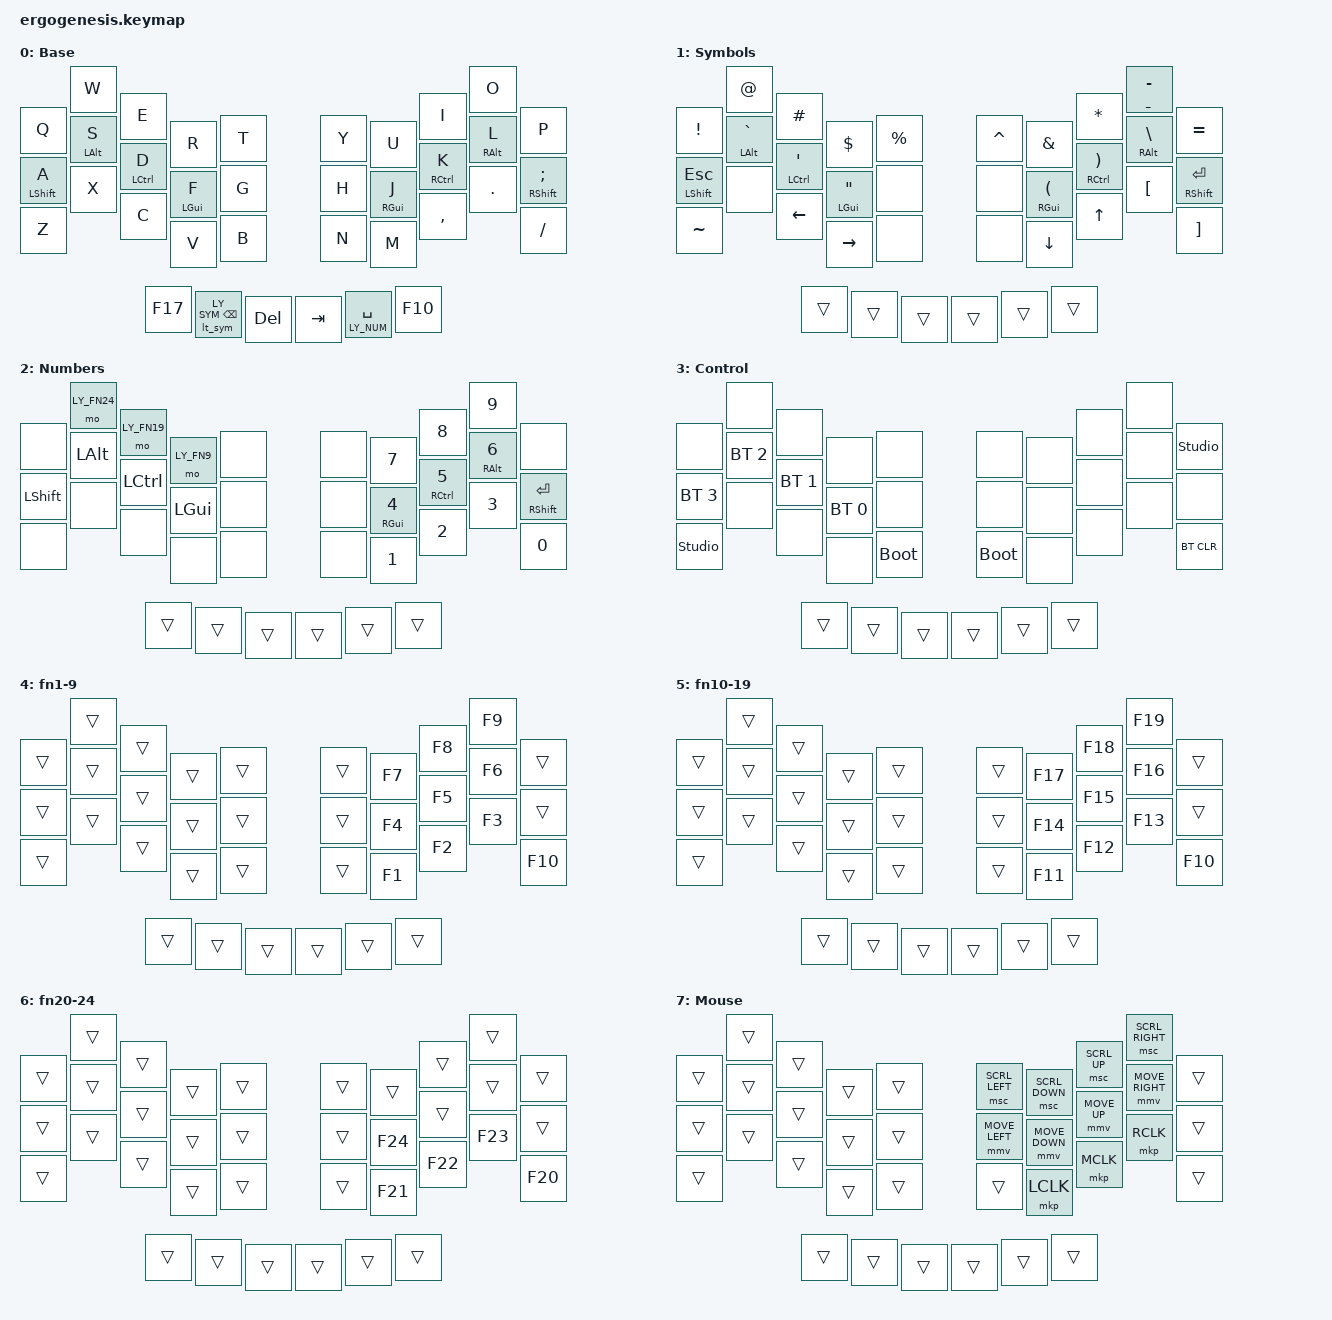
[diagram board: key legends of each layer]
// https://github.com/zmkfirmware/zmk/blob/main/app/boards/shields/cradio/cradio.keymap
// https://github.com/auryn31/avocado/blob/main/config/boards/shields/avocado/avocado.keymap


#include <behaviors.dtsi>// https://github.com/zmkfirmware/zmk/blob/main/app/dts/behaviors.dtsi
#include <dt-bindings/zmk/keys.h>// https://github.com/zmkfirmware/zmk/blob/main/app/include/dt-bindings/zmk/keys.h
#include <dt-bindings/zmk/bt.h>// https://github.com/zmkfirmware/zmk/blob/main/app/include/dt-bindings/zmk/bt.h

#include <dt-bindings/zmk/pointing.h>// https://github.com/zmkfirmware/zmk/blob/main/app/include/dt-bindings/zmk/pointing.h
#include "boards/shields/ergogenesis/36.h"
#include "boards/shields/ergogenesis/helper.h"

// https://github.com/urob/zmk-helpers/tree/main?tab=readme-ov-file#unicode-characters-and-language-collection
// #define HOST_OS 1 // Linux
// #define HOST_OS 2// MacOS
// #include "zmk-helpers/helper.h"
// // #include "zmk-helpers/unicode-chars/german.dtsi" // https://github.com/urob/zmk-helpers/blob/main/include/zmk-helpers/unicode-chars/german.dtsi
// #include <zmk-helpers/unicode-chars/currency.dtsi>// https://github.com/urob/zmk-helpers/blob/main/include/zmk-helpers/unicode-chars/currency.dtsi

// TODO: https://github.com/urob/zmk-helpers/blob/main/docs/core_helpers.md#zmk_unicode
// TODO leader key?

// Home row mods macro
#define HRML(k1,k2,k3,k4) &ht LSHFT k1  &ht LALT  k2  &ht LCTRL k3  &ht LGUI  k4
#define HRMR(k1,k2,k3,k4) &ht RGUI  k1  &ht RCTRL k2  &ht RALT  k3  &ht RSHFT k4

#define LY_BAS 0
#define LY_SYM 1
#define LY_NUM 2
#define LY_CTL 3
#define LY_FN9 4
#define LY_FN19 5
#define LY_FN24 6
#define LY_MSE 7

// OverKeys layer indicators (see overkeys/README.md). The host overlay cannot
// see ZMK layers, so a layer-tap also holds a trigger key while its layer is
// active. Keep in sync with TRIGGERS in overkeys/convert.py. macOS only
// reports F1-F20, so F21-F24 cannot be used as triggers.
//
// Off by default. Enable with `just firmware build-firmware-overkeys`, which
// passes -DOVERKEYS_INDICATORS to the devicetree preprocessor, or uncomment
// the define below. This cannot be a Kconfig option: devicetree is processed
// before Kconfig, so CONFIG_* symbols are not visible in a keymap.
//
// TODO: test on hardware. The enabled variant compiles but was never flashed.
// #define OVERKEYS_INDICATORS
#define OVK_SYM F20
// keymap-drawer predefines OVK_MO_SYM as plain &mo (firmware/draw/config.yaml)
// so the rendered layout always recognises the key as a layer activator.
#ifndef OVK_MO_SYM
#ifdef OVERKEYS_INDICATORS
#define OVK_MO_SYM &mo_sym
#else
#define OVK_MO_SYM &mo
#endif
#endif

//
// #define LY_NAV 3

// rango keyboard toggle with ctrl-shift-5

// ref layers https://github.com/zmkfirmware/zmk/blob/e93cd31a5866cd4f50385bece7a3fb770f2ca6f8/app/boards/shields/cradio/cradio.keymap#L4

/ {
	// {{{1 Combos
	// https://zmk.dev/docs/keymaps/combos
	combos {
		compatible = "zmk,combos";
		// Keys
		/* key_super { */
		/* 	// Windows key was missing! */
		/* 	key-positions = <LM1 RM1>; */
		/* 	timeout-ms = <50>; */
		/* 	layers = < LY_BAS >; */
		/* 	bindings = <&kp LWIN>; */
		/* }; */

		// Combo behaviors are evaluated on the central half, so binding a
		// three-key combo directly to &bootloader always resets the left half.
		// Instead, the first two keys momentarily select LY_CTL; the third key
		// is then handled normally and &bootloader follows that key's source.
		// Hold T+G, then press B to boot the left half.
		bootloader_l_prep {
			key-positions = <LT0 LM0>;
			timeout-ms = <100>;
			layers = <LY_BAS>;
			bindings = <&mo LY_CTL>;
		};

		// Hold Y+H, then press N to boot the right half.
		bootloader_r_prep {
			key-positions = <RT0 RM0>;
			timeout-ms = <100>;
			layers = <LY_BAS>;
			bindings = <&mo LY_CTL>;
		};

		// X+V toggles the smart mouse layer (see &smart_mouse).
		mouse_combo {
			key-positions = <LB3 LB1>;
			timeout-ms = <40>;
			require-prior-idle-ms = <150>;
			layers = <LY_BAS>;
			bindings = <&smart_mouse>;
		};
  	// key_escape {
		//     // Wanted a way to avoid 2 layer switches while pressing escape in vim
		//     // emulates C-[
		//     key-positions = <LB4 RT4>;
		//     timeout-ms = <50>;
		//     // layers = < LY_BAS LY_SYM >;
		//     bindings = <&kp ESC>;
		// };
		// key_escape {
		//     // Wanted a way to avoid 2 layer switches while pressing escape in vim
		//     // emulates C-[
		//     key-positions = <LB4 RT4>;
		//     timeout-ms = <50>;
		//     // layers = < LY_BAS LY_SYM >;
		//     bindings = <&kp ESC>;
		// };
		// fn1_combo {
		//     key-positions = <LT1 RB1>;
		//     timeout-ms = <50>;
		//     layers = < LY_NUM >;
		//     bindings = <&kp F1>;
		// };
	};
	
	// {{{1 Macros
	// https://zmk.dev/docs/keymaps/behaviors/macros
	macros {
#ifdef OVERKEYS_INDICATORS
		// &mo <layer> plus the OverKeys trigger key, both held until release.
		mo_sym: mo_sym {
			compatible = "zmk,behavior-macro-one-param";
			#binding-cells = <1>;
			wait-ms = <0>;
			tap-ms = <0>;
			bindings
				= <&macro_press>, <&macro_param_1to1>, <&mo MACRO_PLACEHOLDER>, <&kp OVK_SYM>
				, <&macro_pause_for_release>
				, <&macro_release>, <&kp OVK_SYM>, <&macro_param_1to1>, <&mo MACRO_PLACEHOLDER>;
		};
#endif
	};
	
	// {{{1 Behaviors
	// https://zmk.dev/docs/keymaps/behaviors#key-press-behaviors
	// https://zmk.dev/docs/keymaps/behaviors#user-defined-behaviors
	behaviors {
		ht: hold_tap {
			compatible = "zmk,behavior-hold-tap";
			#binding-cells = <2>;
			// flavor = "tap-preferred";
			flavor = "balanced";
			tapping-term-ms = <220>;
			quick-tap-ms = <150>;
			require-prior-idle-ms = <100>;
			bindings = <&kp>, <&kp>;
		};
		td0: tap_dance_0 {
			compatible = "zmk,behavior-tap-dance";
			label = "TAPDANCE";
			#binding-cells = <0>;// No inputs
			tapping-term-ms = <200>;
			bindings = <&kp N1>, <&kp N2>, <&kp N3>;// outputs
		};
		// https://zmk.dev/docs/keymaps/behaviors/hold-tap?examples=home_row_mods#layer-tap
		/* urob timeless HRM */
		// 150 ms caused missed modifiers with the lighter switches. Keep the
		// right hand at 100 ms, but let left-hand modifiers follow Space within
		// 75 ms so the A/Shift key can reliably capitalize the next letter.
		/* Left-hand HRMs. */
		hml: hml {
			compatible = "zmk,behavior-hold-tap";
			#binding-cells = <2>;
			flavor = "balanced";
			tapping-term-ms = <280>;
			quick-tap-ms = <175>;
			require-prior-idle-ms = <75>;
			bindings = <&kp>, <&kp>;
			// Before the tapping term, keys not listed here force a tap.
			hold-trigger-key-positions = <KEYS_R THUMBS>;
			hold-trigger-on-release;
		};
		/* Right-hand HRMs. */
		hmr: hmr {
			compatible = "zmk,behavior-hold-tap";
			#binding-cells = <2>;
			flavor = "balanced";
			tapping-term-ms = <280>;
			quick-tap-ms = <175>;
			require-prior-idle-ms = <100>;
			bindings = <&kp>, <&kp>;
			hold-trigger-key-positions = <KEYS_L THUMBS>;
			hold-trigger-on-release;
		};
		/* Space is tap-preferred so rolling into the next letter cannot turn it
		 * into the number-layer hold. Hold it deliberately for 200 ms first. */
		/* Symbols/Backspace stays responsive: another key press resolves it as
		 * a hold immediately. With OVERKEYS_INDICATORS the hold is &mo_sym so
		 * OverKeys sees the layer; otherwise it is plain &mo. */
		lt_sym: layer_tap_symbols {
			compatible = "zmk,behavior-hold-tap";
			#binding-cells = <2>;
			flavor = "hold-preferred";
			tapping-term-ms = <200>;
			require-prior-idle-ms = <100>;
			bindings = <OVK_MO_SYM>, <&kp>;
		};
		lt_num: layer_tap_number {
			compatible = "zmk,behavior-hold-tap";
			#binding-cells = <2>;
			flavor = "tap-preferred";
			tapping-term-ms = <200>;
			bindings = <&mo>, <&kp>;
		};

		// Smart mouse layer (zmk-tri-state): turns LY_MSE on, and off again at
		// the first key that is not listed in ignored-key-positions. Listed are
		// the mouse keys themselves and the left home row, so home-row mods can
		// be held for Shift/Ctrl/Cmd-click. That key press is still typed.
		smart_mouse: smart_mouse {
			compatible = "zmk,behavior-tri-state";
			#binding-cells = <0>;
			bindings = <&tog LY_MSE>, <&none>, <&tog LY_MSE>;
			ignored-key-positions = <LM1 LM2 LM3 LM4 RT0 RT1 RT2 RT3 RM0 RM1 RM2 RM3 RB1 RB2 RB3>;
			ignored-layers = <LY_MSE>;
		};
	};
	
	// {{{1 conditional-layers
	conditional_layers {
		compatible = "zmk,conditional-layers";
		tri_layer {
			if-layers = <LY_SYM LY_NUM>;
			then-layer = <LY_CTL>;
		};
	};
	
	// {{{1 Keymap
	keymap {
		compatible = "zmk,keymap";
		// {{{1 [0] LY_BAS
		default_layer {
			display-name = "Base";
			bindings = <
//        ┌─────────────┬─────────────┬─────────────┬────────────────┬─────┐   ┌─────┬───────────────┬─────────────┬─────────────┬─────────────┐
//        │      Q      │      W      │      E      │       R        │  T  │   │  Y  │       U       │      I      │      O      │      P      │
//        ├─────────────┼─────────────┼─────────────┼────────────────┼─────┤   ├─────┼───────────────┼─────────────┼─────────────┼─────────────┤
//        │ &hml lsft A │ &hml lalt S │ &hml lctl D │  &hml lgui F   │  G  │   │  H  │  &hmr rgui J  │ &hmr rctl K │ &hmr ralt L │ &hmr rsft ; │
//        ├─────────────┼─────────────┼─────────────┼────────────────┼─────┤   ├─────┼───────────────┼─────────────┼─────────────┼─────────────┤
//        │      Z      │      X      │      C      │       V        │  B  │   │  N  │       M       │      ,      │      .      │      /      │
//        └─────────────┴─────────────┼─────────────┼────────────────┼─────┤   ├─────┼───────────────┼─────────────┼─────────────┴─────────────┘
//                                    │     f17     │ lt_sym SYM BKSP│ del │   │ tab │ lt_num NUM spc │     f10     │
//                                    └─────────────┴────────────────┴─────┘   └─────┴───────────────┴─────────────┘
      &kp Q           &kp W         &kp E          &kp R             &kp T         &kp Y     &kp U              &kp I          &kp O         &kp P
      &hml LSHIFT A   &hml LALT S   &hml LCTRL D   &hml LGUI F       &kp G         &kp H     &hmr RGUI J        &hmr RCTRL K   &hmr RALT L   &hmr RSHIFT SEMI
      &kp Z           &kp X         &kp C          &kp V             &kp B         &kp N     &kp M              &kp COMMA      &kp DOT       &kp FSLH
                                    &kp F17        &lt_sym LY_SYM BKSP   &kp DEL       &kp TAB   &lt_num LY_NUM SPACE   &kp F10
			>;// kinesis has enter where I put tab
		};
		
		// {{{1 [1] LY_SYM
		symbols_layer {
			display-name = "Symbols";
			bindings = <
//        ┌───────────────┬─────────────┬─────────────┬─────────────┬─────┐   ┌─────┬─────────────┬─────────────┬─────────────┬───────────────┐
//        │       !       │      @      │      #      │      $      │  %  │   │  ^  │      &      │      *      │   mt _ -    │       =       │
//        ├───────────────┼─────────────┼─────────────┼─────────────┼─────┤   ├─────┼─────────────┼─────────────┼─────────────┼───────────────┤
//        │ &hml lsft esc │ &hml lalt ` │ &hml lctl ' │ &hml lgui " │     │   │     │ &hmr rgui ( │ &hmr rctl ) │ &hmr ralt \ │ &hmr rsft ent │
//        ├───────────────┼─────────────┼─────────────┼─────────────┼─────┤   ├─────┼─────────────┼─────────────┼─────────────┼───────────────┤
//        │       ~       │             │    left     │    rght     │     │   │     │    down     │     up      │      [      │       ]       │
//        └───────────────┴─────────────┼─────────────┼─────────────┼─────┤   ├─────┼─────────────┼─────────────┼─────────────┴───────────────┘
//                                      │             │             │     │   │     │             │             │
//                                      └─────────────┴─────────────┴─────┘   └─────┴─────────────┴─────────────┘
      &kp EXCL          &kp AT            &kp HASH         &kp DOLLAR      &kp PRCNT       &kp CARET   &kp AMPS         &kp STAR          &mt UNDER MINUS   &kp EQUAL
      &hml LSHIFT ESC   &hml LALT GRAVE   &hml LCTRL SQT   &hml LGUI DQT   &none           &none       &hmr RGUI LPAR   &hmr RCTRL RPAR   &hmr RALT BSLH    &hmr RSHIFT ENTER
      &kp TILDE         &none             &kp LEFT         &kp RIGHT       &none           &none       &kp DOWN         &kp UP            &kp LBKT          &kp RBKT
                                          &trans           &trans          &trans          &trans      &trans           &trans
			>;
			// " is a bit awkward to type
			// left-side shift requires left thumb and right shift -> weird! avoid it
			// TODO: put unused keys in <24> <25> (e.g. ^ %)
		};
		// {{{1 [2] LY_NUM
		num_layer {
			display-name = "Numbers";
			bindings = <
//        ┌──────┬───────────┬───────────┬──────────┬─────┐   ┌─────┬─────────────┬─────────────┬─────────────┬───────────────┐
//        │      │ mo LY_f24 │ mo LY_f19 │ mo LY_F9 │     │   │     │      7      │      8      │      9      │               │
//        ├──────┼───────────┼───────────┼──────────┼─────┤   ├─────┼─────────────┼─────────────┼─────────────┼───────────────┤
//        │ lsft │   lalt    │   lctl    │   lgui   │     │   │     │ &hmr rgui 4 │ &hmr rctl 5 │ &hmr ralt 6 │ &hmr rsft ent │
//        ├──────┼───────────┼───────────┼──────────┼─────┤   ├─────┼─────────────┼─────────────┼─────────────┼───────────────┤
//        │      │           │           │          │     │   │     │      1      │      2      │      3      │       0       │
//        └──────┴───────────┼───────────┼──────────┼─────┤   ├─────┼─────────────┼─────────────┼─────────────┴───────────────┘
//                           │           │          │     │   │     │             │             │
//                           └───────────┴──────────┴─────┘   └─────┴─────────────┴─────────────┘
      &none        &mo LY_FN24   &mo LY_FN19   &mo LY_FN9   &none        &none    &kp N7         &kp N8          &kp N9         &none
      &kp LSHIFT   &kp LALT      &kp LCTRL     &kp LGUI     &none        &none    &hmr RGUI N4   &hmr RCTRL N5   &hmr RALT N6   &hmr RSHIFT ENTER
      &none        &none         &none         &none        &none        &none    &kp N1         &kp N2          &kp N3         &kp N0
                                 &trans        &trans       &trans       &trans   &trans         &trans
			>;
			// smart number layer?
			// &mo LY_FN24 -> &lt LY_FN24 SPACE
			// &kp SPACE   -> &lt LY_FN24 SPACE
		};
		
		// {{{1 [3] LY_CTL
		ctl_layer {
			display-name = "Control";
			bindings = <
//        ┌────────────────┬──────────┬──────────┬──────────┬──────┐   ┌──────┬─────┬─────┬─────┬────────────────┐
//        │                │          │          │          │      │   │      │     │     │     │ &studio_unlock │
//        ├────────────────┼──────────┼──────────┼──────────┼──────┤   ├──────┼─────┼─────┼─────┼────────────────┤
//        │    bt_sel 3    │ bt_sel 2 │ bt_sel 1 │ bt_sel 0 │      │   │      │     │     │     │                │
//        ├────────────────┼──────────┼──────────┼──────────┼──────┤   ├──────┼─────┼─────┼─────┼────────────────┤
//        │ &studio_unlock │          │          │          │ boot │   │ boot │     │     │     │     bt_clr     │
//        └────────────────┴──────────┼──────────┼──────────┼──────┤   ├──────┼─────┼─────┼─────┴────────────────┘
//                                    │          │          │      │   │      │     │     │
//                                    └──────────┴──────────┴──────┘   └──────┴─────┴─────┘
      &none            &none          &none          &none          &none             &none         &none    &none    &none   &studio_unlock
      &bt BT_SEL 3     &bt BT_SEL 2   &bt BT_SEL 1   &bt BT_SEL 0   &none             &none         &none    &none    &none   &none
      &studio_unlock   &none          &none          &none          &bootloader       &bootloader   &none    &none    &none   &bt BT_CLR
                                      &trans         &trans         &trans            &trans        &trans   &trans
			>;
			// TODO: macro to print reminder of the bt profiles?
		};
		// {{{1 [4] LY_FN9
		fn1-9_layer {
			display-name = "fn1-9";
			bindings = <
//        ┌─────┬─────┬─────┬─────┬─────┐   ┌─────┬─────┬─────┬────┬─────┐
//        │     │     │     │     │     │   │     │ f7  │ f8  │ f9 │     │
//        ├─────┼─────┼─────┼─────┼─────┤   ├─────┼─────┼─────┼────┼─────┤
//        │     │     │     │     │     │   │     │ f4  │ f5  │ f6 │     │
//        ├─────┼─────┼─────┼─────┼─────┤   ├─────┼─────┼─────┼────┼─────┤
//        │     │     │     │     │     │   │     │ f1  │ f2  │ f3 │ f10 │
//        └─────┴─────┼─────┼─────┼─────┤   ├─────┼─────┼─────┼────┴─────┘
//                    │     │     │     │   │     │     │     │
//                    └─────┴─────┴─────┘   └─────┴─────┴─────┘
      &trans   &trans   &trans   &trans   &trans       &trans   &kp F7   &kp F8   &kp F9   &trans
      &trans   &trans   &trans   &trans   &trans       &trans   &kp F4   &kp F5   &kp F6   &trans
      &trans   &trans   &trans   &trans   &trans       &trans   &kp F1   &kp F2   &kp F3   &kp F10
                        &trans   &trans   &trans       &trans   &trans   &trans
			>;
		};
		// {{{1 [5] LY_FN19
		fn10-19_layer {
			display-name = "fn10-19";
			bindings = <
//        ┌─────┬─────┬─────┬─────┬─────┐   ┌─────┬─────┬─────┬─────┬─────┐
//        │     │     │     │     │     │   │     │ f17 │ f18 │ f19 │     │
//        ├─────┼─────┼─────┼─────┼─────┤   ├─────┼─────┼─────┼─────┼─────┤
//        │     │     │     │     │     │   │     │ f14 │ f15 │ f16 │     │
//        ├─────┼─────┼─────┼─────┼─────┤   ├─────┼─────┼─────┼─────┼─────┤
//        │     │     │     │     │     │   │     │ f11 │ f12 │ f13 │ f10 │
//        └─────┴─────┼─────┼─────┼─────┤   ├─────┼─────┼─────┼─────┴─────┘
//                    │     │     │     │   │     │     │     │
//                    └─────┴─────┴─────┘   └─────┴─────┴─────┘
      &trans   &trans   &trans   &trans   &trans       &trans   &kp F17   &kp F18   &kp F19   &trans
      &trans   &trans   &trans   &trans   &trans       &trans   &kp F14   &kp F15   &kp F16   &trans
      &trans   &trans   &trans   &trans   &trans       &trans   &kp F11   &kp F12   &kp F13   &kp F10
                        &trans   &trans   &trans       &trans   &trans    &trans
			>;
		};
		
		// {{{1 [6] LY_FN24
		fn20-24_layer {
			display-name = "fn20-24";
			bindings = <
//        ┌─────┬─────┬─────┬─────┬─────┐   ┌─────┬─────┬─────┬─────┬─────┐
//        │     │     │     │     │     │   │     │     │     │     │     │
//        ├─────┼─────┼─────┼─────┼─────┤   ├─────┼─────┼─────┼─────┼─────┤
//        │     │     │     │     │     │   │     │ f24 │     │     │     │
//        ├─────┼─────┼─────┼─────┼─────┤   ├─────┼─────┼─────┼─────┼─────┤
//        │     │     │     │     │     │   │     │ f21 │ f22 │ f23 │ f20 │
//        └─────┴─────┼─────┼─────┼─────┤   ├─────┼─────┼─────┼─────┴─────┘
//                    │     │     │     │   │     │     │     │
//                    └─────┴─────┴─────┘   └─────┴─────┴─────┘
      &trans   &trans   &trans   &trans   &trans       &trans   &trans    &trans    &trans    &trans
      &trans   &trans   &trans   &trans   &trans       &trans   &kp F24   &trans    &trans    &trans
      &trans   &trans   &trans   &trans   &trans       &trans   &kp F21   &kp F22   &kp F23   &kp F20
                        &trans   &trans   &trans       &trans   &trans    &trans
			>;
		};
		
		// {{{1 [7] LY_MSE
		// Entered with X+V, left automatically (see &smart_mouse). Keys shown
		// empty are transparent: pressing one leaves the layer and types it.
		mouse_layer {
			display-name = "Mouse";
			bindings = <
//        ┌─────┬─────┬─────┬─────┬─────┐   ┌────────┬────────┬────────┬────────┬─────┐
//        │     │     │     │     │     │   │ scrl ← │ scrl ↓ │ scrl ↑ │ scrl 	 │     │
//        ├─────┼─────┼─────┼─────┼─────┤   ├────────┼────────┼────────┼────────┼─────┤
//        │     │     │     │     │     │   │ move ← │ move ↓ │ move ↑ │ move 	 │     │
//        ├─────┼─────┼─────┼─────┼─────┤   ├────────┼────────┼────────┼────────┼─────┤
//        │     │     │     │     │     │   │        │ left   │ middle │ right  │     │
//        └─────┴─────┼─────┼─────┼─────┤   ├────────┼────────┼────────┼────────┴─────┘
//                    │     │     │     │   │        │        │        │
//                    └─────┴─────┴─────┘   └────────┴────────┴────────┘
      &trans   &trans   &trans   &trans   &trans       &msc SCRL_LEFT   &msc SCRL_DOWN   &msc SCRL_UP   &msc SCRL_RIGHT   &trans
      &trans   &trans   &trans   &trans   &trans       &mmv MOVE_LEFT   &mmv MOVE_DOWN   &mmv MOVE_UP   &mmv MOVE_RIGHT   &trans
      &trans   &trans   &trans   &trans   &trans       &trans           &mkp LCLK        &mkp MCLK      &mkp RCLK         &trans
                        &trans   &trans   &trans       &trans           &trans           &trans
			>;
		};

	};
};

// Gaming layer? (no hmr)
// // {{{1 LAYER 3
//  nav_layer {
//      display-name = "Nav";
//      bindings = <
//        &kp N1       &kp N2  &kp N3         &kp N4           &kp N5  /* | */    &none       &none          &none           &none        &kp BKSP
//        &kp LSHIFT   &kp Q   &kp W          &kp E            &kp R   /* | */    &kp LEFT    &kp DOWN       &kp UP          &kp RIGHT    &kp ENTER
//        &kp LCTRL    &kp A   &msc SCRL_LEFT &msc SCRL_RIGHT  &kp G   /* | */    &none       &msc SCRL_UP   &msc SCRL_DOWN  &none
//                                            &kp SPACE        &none   /* | */    &none       &to LY_BAS
//      >;
//  };
//  // TODO: get the navigation commands from ben

// vim:ft=dts:
// vim:fdm=marker:fen:fdl=0:
